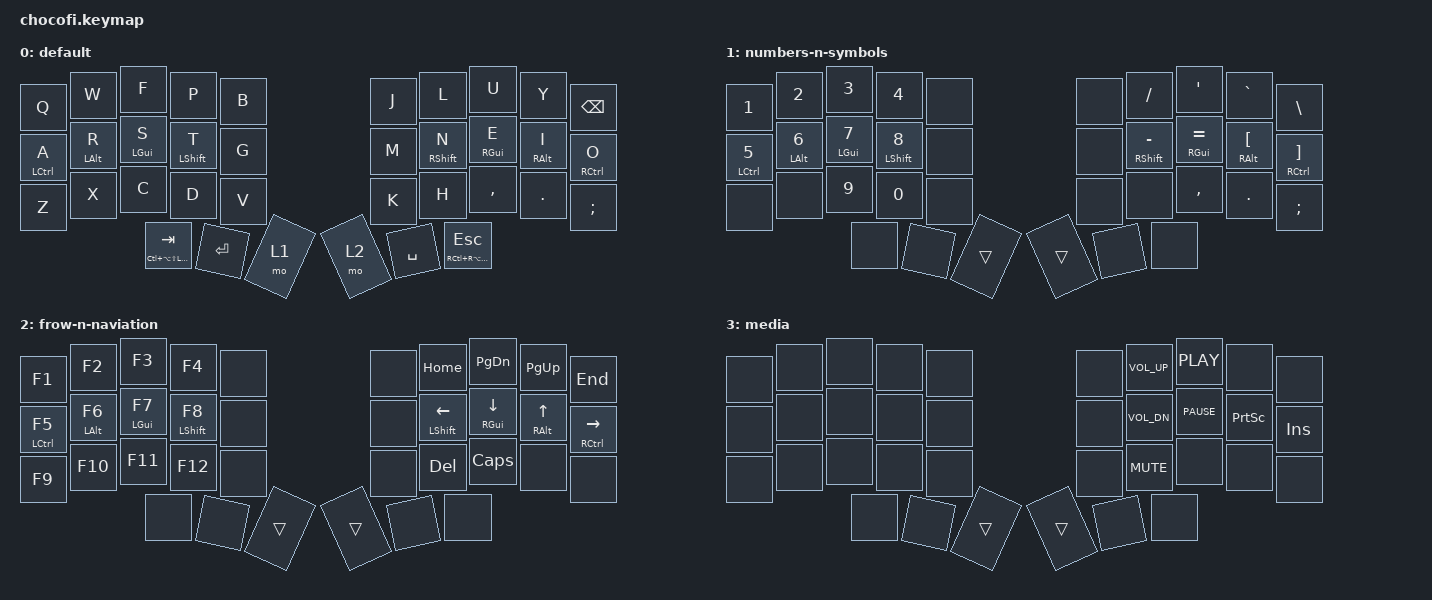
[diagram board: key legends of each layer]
/*
 * Copyright (c) 2020 The ZMK Contributors
 *
 * SPDX-License-Identifier: MIT
 */

#include <behaviors.dtsi>
#include <dt-bindings/zmk/keys.h>

/ {
    behaviors {
        hml: hml {
            compatible = "zmk,behavior-hold-tap";
            bindings = <&kp>, <&kp>;

            #binding-cells = <2>;
            tapping-term-ms = <280>;
            quick-tap-ms = <175>;
            require-prior-idle-ms = <150>;
            flavor = "balanced";
            hold-trigger-key-positions = <5 6 8 15 16 17 18 25 26 27 28 7 33 34 35 9 19 29>;
            hold-trigger-on-release;
        };

        hmr: hmr {
            compatible = "zmk,behavior-hold-tap";
            bindings = <&kp>, <&kp>;

            #binding-cells = <2>;
            tapping-term-ms = <280>;
            quick-tap-ms = <175>;
            require-prior-idle-ms = <150>;
            flavor = "balanced";
            hold-trigger-key-positions = <0 1 2 3 4 10 11 12 13 14 20 21 22 23 24 30 31 32>;
            hold-trigger-on-release;
        };
    };

    keymap {
        compatible = "zmk,keymap";

        default {
            bindings = <
  &kp Q         &kp W        &kp F                      &kp P          &kp B    &kp J  &kp L          &kp U                      &kp Y        &kp BACKSPACE
  &hml LCTRL A  &hml LALT R  &hml LGUI S                &hml LSHIFT T  &kp G    &kp M  &hmr RSHIFT N  &hmr RGUI E                &hmr RALT I  &hmr RCTRL O
  &kp Z         &kp X        &kp C                      &kp D          &kp V    &kp K  &kp H          &kp COMMA                  &kp DOT      &kp SEMICOLON
                             &hml LC(LA(LS(LGUI))) TAB  &kp ENTER      &mo 1    &mo 2  &kp SPACE      &hmr RC(RA(RS(RGUI))) ESC
            >;
        };

        numbers-n-symbols {
            bindings = <
  &kp N1         &kp N2        &kp N3        &kp N4         &none     &none   &kp FSLH           &kp APOS         &kp GRAVE               &kp BSLH
  &hml LCTRL N5  &hml LALT N6  &hml LGUI N7  &hml LSHFT N8  &none     &none   &hmr RSHIFT MINUS  &hmr RGUI EQUAL  &hmr RALT LEFT_BRACKET  &hmr RCTRL RIGHT_BRACKET
  &none          &none         &kp N9        &kp N0         &none     &none   &none              &kp COMMA        &kp PERIOD              &kp SEMICOLON
                               &none         &none          &trans    &trans  &none              &none
            >;
        };

        frow-n-naviation {
            bindings = <
  &kp F1         &kp F2        &kp F3        &kp F4         &none     &none   &kp HOME                &kp PAGE_DOWN   &kp PAGE_UP   &kp END
  &hml LCTRL F5  &hml LALT F6  &hml LGUI F7  &hml LSHFT F8  &none     &none   &hmr LSHIFT LEFT_ARROW  &hmr RGUI DOWN  &hmr RALT UP  &hmr RCTRL RIGHT
  &kp F9         &kp F10       &kp F11       &kp F12        &none     &none   &kp DEL                 &kp CAPS        &none         &none
                               &none         &none          &trans    &trans  &none                   &none
            >;
        };

        media {
            bindings = <
  &none  &none  &none  &none  &none     &none   &kp C_VOL_UP  &kp C_PLAY   &none            &none
  &none  &none  &none  &none  &none     &none   &kp C_VOL_DN  &kp C_PAUSE  &kp PRINTSCREEN  &kp INSERT
  &none  &none  &none  &none  &none     &none   &kp K_MUTE    &none        &none            &none
                &none  &none  &trans    &trans  &none         &none
            >;
        };
    };

    conditional_layers {
        compatible = "zmk,conditional-layers";

        media-layer {
            if-layers = <1 2>;
            then-layer = <3>;
        };
    };
};
